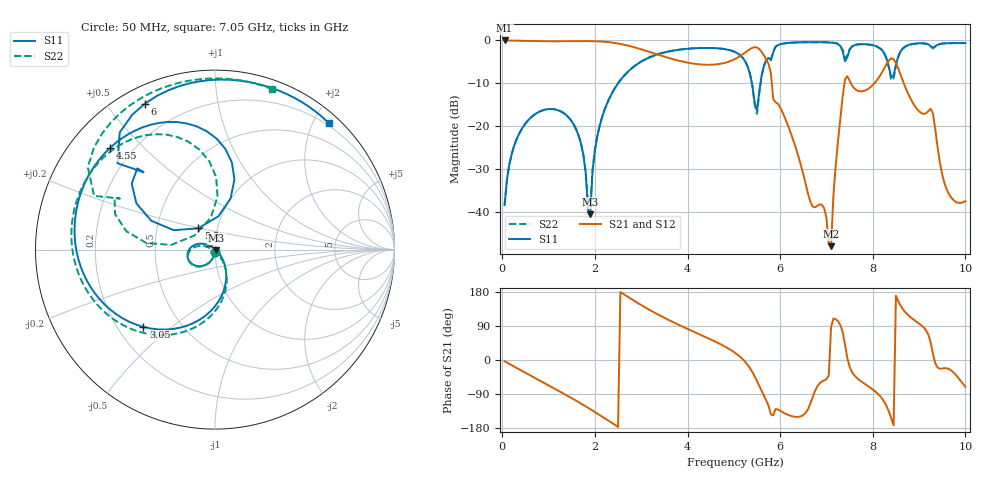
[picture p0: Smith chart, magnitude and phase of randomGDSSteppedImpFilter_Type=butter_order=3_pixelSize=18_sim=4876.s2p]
! freq	dB(S11)	phase(S11)	dB(S12)	phase(S12)
!  dB(S21)	phase(S21)	dB(S22)	phase(S22)
!S-par simulation data
#  GHz  S  DB  R 50
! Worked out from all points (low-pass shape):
!   200 points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, 50 MHz to 10 GHz, reference 50 ohm
!   highest |S21| = -0.01 dB at 50 MHz (marker M1); lowest = -48.0 dB at 7.1 GHz (marker M2)
!   |S21| within 3 dB of the highest: start of sweep to 3.272 GHz; 5.222 GHz to 5.621 GHz (399.6 MHz wide, 7.37 % of centre)
!   lowest |S11| = -40.6 dB at 1.9 GHz (marker M3), VSWR 1.02, Z = 50.8 - j0.488 ohm
!   |S11| at or under -10 dB: start of sweep to 2.501 GHz; 5.391 GHz to 5.576 GHz (185.1 MHz wide, 3.38 % of centre)
!   |S22| runs from -38.4 to -0.4 dB; largest |S21 - S12| = 0
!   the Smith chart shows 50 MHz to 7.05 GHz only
!   S11 on the Smith chart (normalised r, x): 50 MHz: 1.00, -0.02; 3.05 GHz: 0.31, -0.40; 4.55 GHz: 0.12, +0.40; 5.5 GHz: 0.81, +0.20; 6 GHz: 0.07, +0.63; 7.05 GHz: 0.16, +2.23
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0.05  -38.41 -92.4  -0.01 -3.4  -0.01 -3.4  -38.41 -92.2
0.25  -24.77 -107.4  -0.04 -17.0  -0.04 -17.0  -24.77 -106.6
0.75  -16.92 -142.0  -0.15 -50.3  -0.15 -50.3  -16.92 -139.5
1.75  -26.68 146.4  -0.16 -118.6  -0.16 -118.6  -26.62 161.4
1.9  -40.55 -30.8  -0.16 -129.7  -0.16 -129.7  -38.05 -79.3
2  -25.63 -48.3  -0.19 -137.3  -0.19 -137.3  -25.47 -55.3
2.2  -16.45 -65.4  -0.30 -152.8  -0.30 -152.8  -16.40 -64.8
3.05  -4.62 -132.8  -2.24 141.4  -2.24 141.4  -4.61 -126.5
3.4  -3.09 -156.9  -3.45 117.6  -3.45 117.6  -3.08 -149.1
4.55  -1.78 136.0  -5.65 51.4  -5.65 51.4  -1.77 148.3
5.05  -2.84 102.8  -4.20 16.8  -4.20 16.8  -2.84 117.0
5.5  -16.44 128.1  -1.66 -55.5  -1.66 -55.5  -17.16 145.6
5.8  -4.63 132.7  -7.60 -143.3  -7.60 -143.3  -4.41 151.7
6  -0.89 115.6  -15.61 -134.0  -15.61 -134.0  -0.89 134.2
6.7  -0.41 68.0  -38.73 -98.8  -38.73 -98.8  -0.41 89.2
7.05  -0.47 48.0  -47.57 -40.0  -47.57 -40.0  -0.46 70.5
7.1  -0.50 44.8  -48.00 87.2  -48.00 87.2  -0.49 67.5
7.4  -4.86 27.6  -9.10 41.3  -9.10 41.3  -4.17 51.0
7.95  -1.02 10.4  -10.91 -73.3  -10.91 -73.3  -1.02 32.8
8.35  -6.28 -18.4  -4.62 -136.7  -4.62 -136.7  -6.56 1.8
8.6  -2.54 20.1  -8.00 143.4  -8.00 143.4  -2.67 44.9
10  -0.64 -50.1  -37.50 -70.9  -37.50 -70.9  -0.61 -28.6
